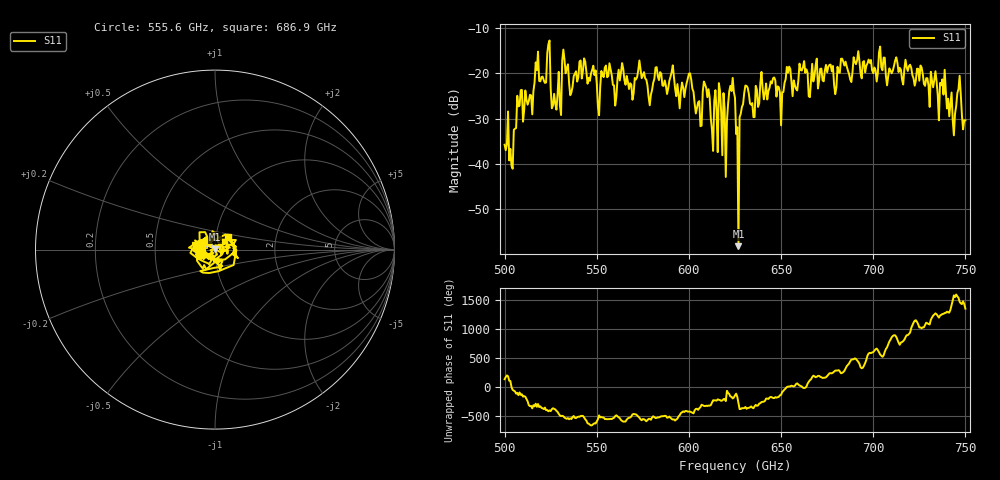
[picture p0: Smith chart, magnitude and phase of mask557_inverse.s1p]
!Created with skrf (http://scikit-rf.org).
# GHz S MA R 50.0
!freq magS11 angS11
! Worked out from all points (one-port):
!   401 points, 500 GHz to 750 GHz, reference 50 ohm
!   lowest |S11| = -58.2 dB at 626.9 GHz (marker M1), VSWR 1.00, Z = 50 + j0.121 ohm
!   |S11| at or under -10 dB: start of sweep to end of sweep
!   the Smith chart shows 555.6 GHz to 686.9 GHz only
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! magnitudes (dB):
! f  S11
! 500 GHz  -35.8
! 503.8 GHz  -40.5
! 508.1 GHz  -27.1
! 513.8 GHz  -24.7
! 517.5 GHz  -19.3
! 523.8 GHz  -13.6
! 526.9 GHz  -24.5
! 531.2 GHz  -17.2
! 562.5 GHz  -21.6
! 593.8 GHz  -22.4
! 600 GHz  -20.1
! 605.6 GHz  -26.1
! 609.4 GHz  -23.2
! 611.9 GHz  -29.9
! 619.4 GHz  -27.8
! 622.5 GHz  -22.8
! 625 GHz  -25.4
! 625.6 GHz  -33.4
! 626.9 GHz  -58.2
! 631.2 GHz  -22.8
! 634.4 GHz  -26.6
! 656.2 GHz  -25.0
! 687.5 GHz  -21.3
! 718.8 GHz  -19.5
! 737.5 GHz  -21.3
! 742.5 GHz  -24.2
! 746.2 GHz  -23.5
! 750 GHz  -30.4
